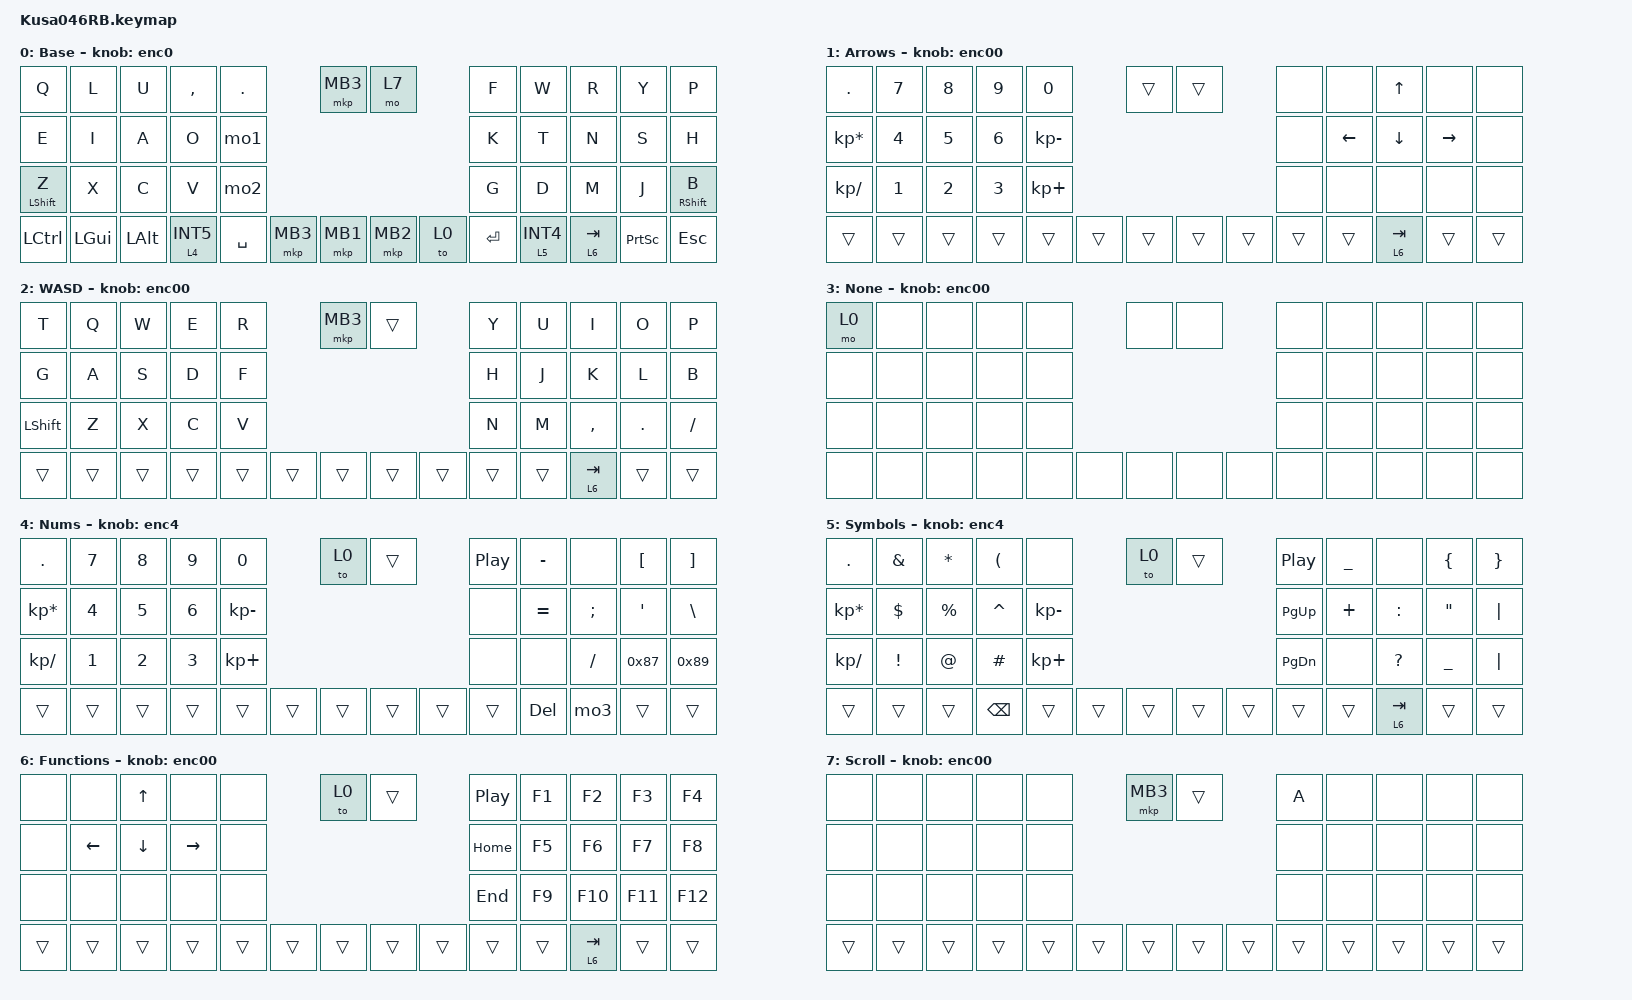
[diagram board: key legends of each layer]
#include <behaviors.dtsi>
#include <dt-bindings/zmk/keys.h>
#include <dt-bindings/zmk/bt.h>
#include <dt-bindings/zmk/outputs.h>
#include <dt-bindings/zmk/pointing.h>
#include <zephyr/dt-bindings/input/input-event-codes.h>
#include <input/processors.dtsi>

// OS設定を日本語キーボードのまま使用するための変換定義
#define JP_DQUOTE       AT                // "
#define JP_AMPERSAND    CARET             // &
#define JP_QUOTE        AMPERSAND         // '
#define JP_EQUAL        UNDER             // =
#define JP_CARET        EQUAL             // ^
#define JP_YEN          0x89              // ¥
#define JP_PLUS         COLON             // +
#define JP_TILDE        PLUS              // ~
#define JP_PIPE         LS(0x89)          // |
#define JP_AT           LEFT_BRACKET      // @
#define JP_COLON        SINGLE_QUOTE      // :
#define JP_ASTERISK     DOUBLE_QUOTES     // *
#define JP_BACKQUOTE    LEFT_BRACE        // `
#define JP_UNDERSCORE   LS(0x87)          // _
#define JP_LBRACKET     RIGHT_BRACKET     // [
#define JP_RBRACKET     BACKSLASH         // ]
#define JP_LPAREN       ASTERISK          // (
#define JP_RPAREN       LEFT_PARENTHESIS  // )
#define JP_LBRACE       RIGHT_BRACE       // {
#define JP_RBRACE       PIPE              // }
#define JP_KANA         LANGUAGE_1        // かな
#define JP_EISU         LANGUAGE_2        // 英数
#define JP_HANZEN       GRAVE             // 半角/全角
#define JP_MHEN         INT5              // Muhenkan (無変換)
#define JP_HENK         INT4              // Henkan (変換)



/ {
    zip_scroll_mapper: zip_scroll_mapper {
        compatible = "zmk,input-processor-code-mapper";
        #input-processor-cells = <0>;
        type = <INPUT_EV_REL>;
        map = <INPUT_REL_X INPUT_REL_HWHEEL>
            , <INPUT_REL_Y INPUT_REL_WHEEL>;
    };

    zip_scroll_scaler: zip_scroll_scaler {
        compatible = "zmk,input-processor-scaler";
        #input-processor-cells = <2>;
        type = <INPUT_EV_REL>;
        codes = <INPUT_REL_WHEEL INPUT_REL_HWHEEL>;
    };

    /* リスナー設定：ここでレイヤー7のみスクロールを適用する */
    trackball_listener {
        compatible = "zmk,input-listener";
        device = <&trackball>;
        
        /* レイヤー7以外では通常のポインター動作 */
        default_binder {
            layers = <0 1 2 3 4 5 6>;
        };

        /* レイヤー7ではスクロールに変換 */
        scroll_layer_binder {
            layers = <7>;
            input-processors = <&zip_scroll_mapper &zip_scroll_scaler 1 4>;
        };
    };

    behaviors {
// -(=), ;(+)を適用する
        mo1: mod-morph-1 {
            compatible = "zmk,behavior-mod-morph";
            #binding-cells = <0>;
            bindings = <&kp MINUS>, <&kp EQUAL>;
            mods = <(MOD_LSFT|MOD_RSFT)>;
        };
        mo2: mod-morph-2 {
            compatible = "zmk,behavior-mod-morph";
            #binding-cells = <0>;
            bindings = <&kp SEMI>, <&kp PLUS>;
            mods = <(MOD_LSFT|MOD_RSFT)>;
        };
// CAPSをいい感じに押し込める        
        mo3: mod-morph-3 {
            compatible = "zmk,behavior-mod-morph";
            #binding-cells = <0>;
            bindings = <&lt 6 TAB>, <&kp LS(CAPS)>;
            mods = <(MOD_LSFT|MOD_RSFT)>;
        };
// タップダンスの秒数調整
        mt1: mod-tap-1 {    // z,bとshift
            compatible = "zmk,behavior-hold-tap";
            #binding-cells = <2>;
            flavor = "hold-preferred";
            tapping-term-ms = <100>;
            bindings = <&kp>, <&kp>;
            display-name = "Mod-Tap-1";
        };

// レイヤーごとのencorder
        enc00: encoder-00 {
            compatible = "zmk,behavior-sensor-rotate";
            #sensor-binding-cells = <0>;
            bindings = <&none>, <&none>;
        };
        enc0: encoder-0 {
            compatible = "zmk,behavior-sensor-rotate";
            #sensor-binding-cells = <0>;
            bindings = <&mkp MB4>, <&mkp MB5>;
        };
        enc4: encoder-4 {
            compatible = "zmk,behavior-sensor-rotate";
            #sensor-binding-cells = <0>;
            bindings = <&to 1>, <&to 2>;
        };
    };
};


/ {
    keymap {
        compatible = "zmk,keymap";

        default_layer { // layer 0
            display-name = "Base";

            bindings = <
                &kp Q        &kp L    &kp U    &kp COMMA     &kp DOT             &mkp MB3 &mo 7          &kp F   &kp W          &kp R     &kp Y     &kp P
                &kp E        &kp I    &kp A    &kp O         &mo1                                        &kp K   &kp T          &kp N     &kp S     &kp H
                &mt1 LSHFT Z &kp X    &kp C    &kp V         &mo2                                        &kp G   &kp D          &kp M     &kp J     &mt1 RSHFT B
                &kp LCTRL    &kp LGUI &kp LALT &lt 4 JP_MHEN &kp SPACE &mkp MB3  &mkp MB1 &mkp MB2 &to 0 &kp RET &lt 5 JP_HENK  &lt 6 TAB &kp PSCRN &kp ESC
            >;    
            sensor-bindings = <&enc0>;
        };

        arrows {   // layer1
            display-name = "Arrows"; 

            bindings = <
                &kp DOT         &kp N7  &kp N8  &kp N9  &kp N0              &trans &trans        &none  &none    &kp UP    &none     &none 
                &kp KP_ASTERISK &kp N4  &kp N5  &kp N6  &kp KP_MINUS                             &none  &kp LEFT &kp DOWN  &kp RIGHT &none 
                &kp KP_SLASH    &kp N1  &kp N2  &kp N3  &kp KP_PLUS                              &none  &none    &none     &none     &none 
                &trans          &trans  &trans  &trans  &trans       &trans &trans &trans &trans &trans &trans   &lt 6 TAB &trans    &trans
            >;
            sensor-bindings = <&enc00>;
        };

        wasd {  // layer2
            display-name = "WASD";

            bindings = <
                &kp T     &kp Q  &kp W  &kp E  &kp R         &mkp MB3 &trans        &kp Y  &kp U  &kp I     &kp O   &kp P 
                &kp G     &kp A  &kp S  &kp D  &kp F                                &kp H  &kp J  &kp K     &kp L   &kp B 
                &kp LSHFT &kp Z  &kp X  &kp C  &kp V                                &kp N  &kp M  &kp COMMA &kp DOT &kp SLASH
                &trans    &trans &trans &trans &trans &trans &trans   &trans &trans &trans &trans &lt 6 TAB &trans  &trans
            >;
            sensor-bindings = <&enc00>;
        };

        none {  // layer3
            display-name = "None";

            bindings = <
                &mo 0 &none &none &none &none       &none &none       &none &none &none &none &none 
                &none &none &none &none &none                         &none &none &none &none &none 
                &none &none &none &none &none                         &none &none &none &none &none 
                &none &none &none &none &none &none &none &none &none &none &none &none &none &none 
            >;
            sensor-bindings = <&enc00>;
        };

        Nums {  // layer4
            display-name = "Nums";

            bindings = <
                &kp DOT         &kp N7  &kp N8  &kp N9  &kp N0              &to 0  &trans        &kp C_PP &kp MINUS    &none     &kp JP_AT    &kp JP_LBRACKET
                &kp KP_ASTERISK &kp N4  &kp N5  &kp N6  &kp KP_MINUS                             &none    &kp JP_CARET &kp SEMI  &kp JP_COLON &kp JP_RBRACKET
                &kp KP_SLASH    &kp N1  &kp N2  &kp N3  &kp KP_PLUS                              &none    &none        &kp SLASH &kp 0x87     &kp 0x89 
                &trans          &trans  &trans  &trans  &trans       &trans &trans &trans &trans &trans   &kp DEL      &mo3      &trans       &trans 
            >;
            sensor-bindings = <&enc4>;
        };

        symbols {   // layer5
            display-name = "Symbols";

            bindings = <
                &kp DOT         &kp JP_QUOTE &kp JP_LPAREN &kp JP_RPAREN    &none               &to 0  &trans        &kp C_PP  &kp JP_EQUAL &none        &kp JP_BACKQUOTE &kp JP_LBRACE 
                &kp KP_ASTERISK &kp DLLR     &kp PRCNT     &kp JP_AMPERSAND &kp KP_MINUS                             &kp PG_UP &kp JP_TILDE &kp JP_PLUS  &kp JP_ASTERISK  &kp JP_RBRACE 
                &kp KP_SLASH    &kp EXCL     &kp JP_DQUOTE &kp HASH         &kp KP_PLUS                              &kp PG_DN &none        &kp QUESTION &kp UNDERSCORE   &kp PIPE 
                &trans          &trans       &trans        &kp BSPC         &trans       &trans &trans &trans &trans &trans    &trans       &lt 6 TAB    &trans           &trans
            >;
            sensor-bindings = <&enc4>;
        };

        functions { // layer6
            display-name = "Functions";

            bindings = <
                &none  &none    &kp UP   &none     &none         &to 0  &trans        &kp C_PP &kp F1  &kp F2      &kp F3   &kp F4 
                &none  &kp LEFT &kp DOWN &kp RIGHT &none                              &kp HOME &kp F5  &kp F6      &kp F7   &kp F8 
                &none  &none    &none    &none     &none                              &kp END  &kp F9  &kp F10     &kp F11  &kp F12
                &trans &trans   &trans   &trans    &trans &trans &trans &trans &trans &trans   &trans  &lt 6 TAB   &trans   &trans
            >;
            sensor-bindings = <&enc00>;
        };
        scroll {    // layer7
            display-name = "Scroll";

            bindings = <
                &none  &none  &none  &none  &none         &mkp MB3 &trans        &kp A  &none  &none  &none  &none 
                &none  &none  &none  &none  &none                                &none  &none  &none  &none  &none 
                &none  &none  &none  &none  &none                                &none  &none  &none  &none  &none 
                &trans &trans &trans &trans &trans &trans &trans   &trans &trans &trans &trans &trans &trans &trans
            >;
            sensor-bindings = <&enc00>;
        };
    
    };
};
